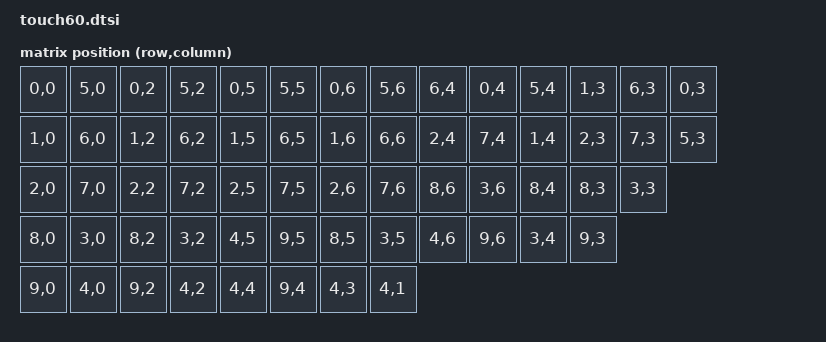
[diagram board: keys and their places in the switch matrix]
#include "touch60-layouts.dtsi"
#include <dt-bindings/zmk/matrix_transform.h>

/ {
    matrix_transform0: matrix_transform0 {
        compatible = "zmk,matrix-transform";
        columns = <7>;
        rows = <10>;
        map = <
            RC(0,0) RC(5,0) RC(0,2) RC(5,2) RC(0,5) RC(5,5) RC(0,6) RC(5,6) RC(6,4) RC(0,4) RC(5,4) RC(1,3) RC(6,3) RC(0,3)
            RC(1,0) RC(6,0) RC(1,2) RC(6,2) RC(1,5) RC(6,5) RC(1,6) RC(6,6) RC(2,4) RC(7,4) RC(1,4) RC(2,3) RC(7,3) RC(5,3)
            RC(2,0) RC(7,0) RC(2,2) RC(7,2) RC(2,5) RC(7,5) RC(2,6) RC(7,6) RC(8,6) RC(3,6) RC(8,4) RC(8,3) RC(3,3)
            RC(8,0) RC(3,0) RC(8,2) RC(3,2) RC(4,5) RC(9,5) RC(8,5) RC(3,5) RC(4,6) RC(9,6) RC(3,4) RC(9,3)
            RC(9,0) RC(4,0) RC(9,2) RC(4,2) RC(4,4) RC(9,4) RC(4,3) RC(4,1)
        >;
    };
};

&physical_layout_touch60 {
    transform = <&matrix_transform0>;
};

// Input devices
/ {
    split_inputs {
        #address-cells = <1>;
        #size-cells = <0>;

        input_split_unibody0: input_split_unibody0@0 {
            compatible = "zmk,input-split";
            reg = <0>;
            status = "disabled";
        };
    };

    input_listener_unibody0: input_listener_unibody0 {
        compatible = "zmk,input-listener";
        status = "disabled";
        device = <&input_split_unibody0>;
    };
};

